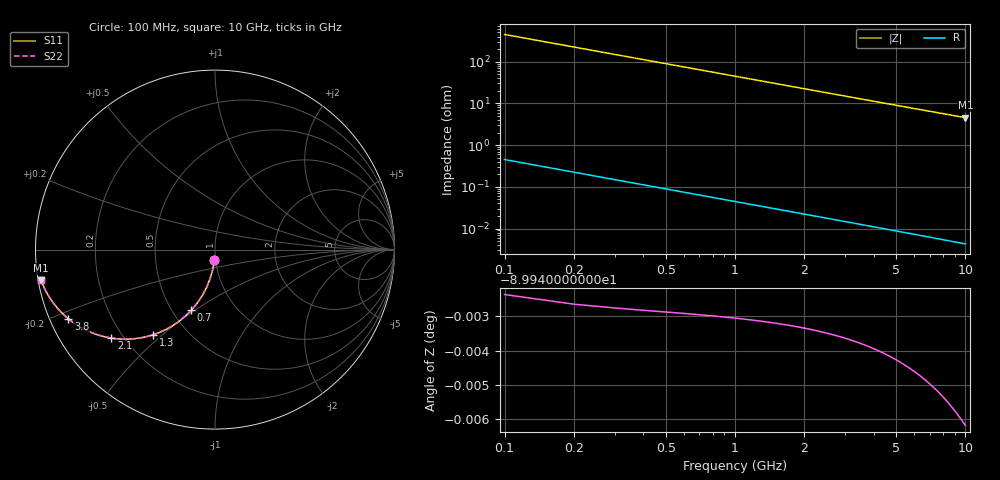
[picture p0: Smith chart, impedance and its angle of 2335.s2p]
# Hz S RI R 50.00
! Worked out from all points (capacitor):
!   100 points, 100 MHz to 10 GHz, reference 50 ohm
!   read as one part in shunt: C = 3.55 pF near 100 MHz
!   lowest |Z| = 4.56 ohm at 10 GHz (marker M1)
!   S11 on the Smith chart (normalised r, x): 100 MHz: 0.99, -0.11; 700 MHz: 0.62, -0.48; 1.3 GHz: 0.32, -0.47; 2.1 GHz: 0.15, -0.36; 3.8 GHz: 0.05, -0.22; 10 GHz: 0.01, -0.09
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1e8  -0.00315 -0.0556  0.9968 -0.0556  0.9968 -0.0556  -0.00315 -0.0556
2e8  -0.0124 -0.1101  0.9876 -0.1102  0.9876 -0.1102  -0.0124 -0.1101
3e8  -0.0274 -0.1627  0.9726 -0.1628  0.9726 -0.1628  -0.0274 -0.1627
4e8  -0.0476 -0.2124  0.9524 -0.2126  0.9524 -0.2126  -0.0476 -0.2124
5e8  -0.0724 -0.2586  0.9276 -0.2588  0.9276 -0.2588  -0.0724 -0.2586
6e8  -0.101 -0.3007  0.899 -0.301  0.899 -0.301  -0.101 -0.3007
7e8  -0.1325 -0.3384  0.8674 -0.3388  0.8674 -0.3388  -0.1325 -0.3384
8e8  -0.1663 -0.3717  0.8337 -0.372  0.8337 -0.372  -0.1663 -0.3717
1e9  -0.2375 -0.4248  0.7625 -0.4253  0.7625 -0.4253  -0.2375 -0.4248
1.3e9  -0.3446 -0.4744  0.6554 -0.475  0.6554 -0.475  -0.3446 -0.4744
1.5e9  -0.4117 -0.4913  0.5883 -0.492  0.5883 -0.492  -0.4117 -0.4913
1.8e9  -0.5017 -0.4991  0.4983 -0.4999  0.4983 -0.4999  -0.5017 -0.4991
2.1e9  -0.5779 -0.4929  0.4221 -0.4939  0.4221 -0.4939  -0.5779 -0.4929
2.4e9  -0.6412 -0.4786  0.3588 -0.4797  0.3588 -0.4797  -0.6412 -0.4786
2.7e9  -0.6932 -0.46  0.3067 -0.4613  0.3067 -0.4613  -0.6932 -0.46
3.4e9  -0.7816 -0.4119  0.2184 -0.4135  0.2184 -0.4135  -0.7816 -0.4119
3.8e9  -0.817 -0.3853  0.183 -0.387  0.183 -0.387  -0.817 -0.3853
4.4e9  -0.8567 -0.3488  0.1433 -0.3509  0.1433 -0.3509  -0.8567 -0.3488
5.1e9  -0.8891 -0.3122  0.1108 -0.3146  0.1108 -0.3146  -0.8891 -0.3122
6.7e9  -0.9325 -0.2488  0.0675 -0.252  0.0675 -0.252  -0.9325 -0.2488
8.4e9  -0.9559 -0.2029  0.0441 -0.2068  0.0441 -0.2068  -0.9559 -0.2029
1e10  -0.9684 -0.172  0.0316 -0.1767  0.0316 -0.1767  -0.9684 -0.172
